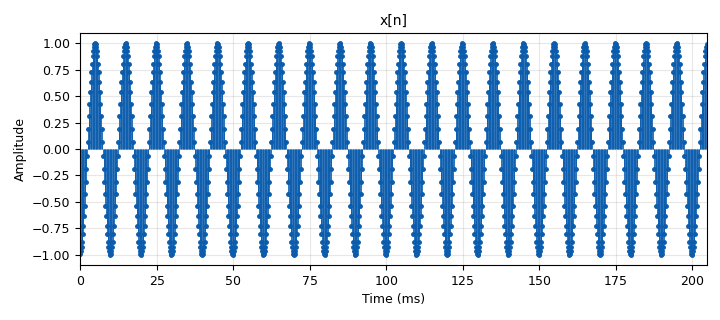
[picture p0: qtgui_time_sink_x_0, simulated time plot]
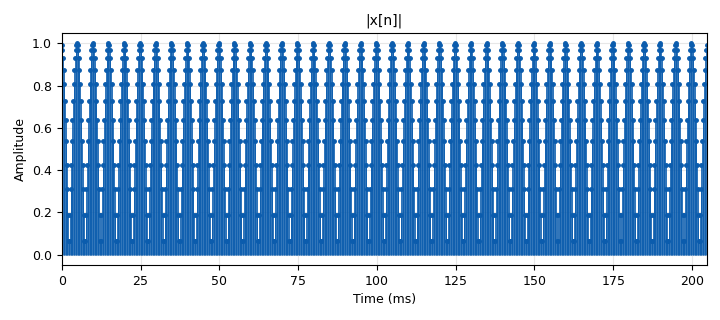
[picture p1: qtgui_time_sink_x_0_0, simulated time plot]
options:
  parameters:
    author: YAKOTT
    copyright: YAKOTT
    generate_options: qt_gui
    id: QT_DSP_Signal_11
    output_language: python
    title: QT_DSP_Signal_11
  states: {}

blocks:
- name: A
  id: variable_qtgui_range
  parameters:
    comment: Amplitude of the signal.
    orient: Qt.Horizontal
    start: '0'
    step: '1'
    stop: '10'
    value: '1'
  states: {}
- name: 'No'
  id: variable_qtgui_range
  parameters:
    comment: Period  of the signal.
    orient: Qt.Horizontal
    start: '1'
    step: '1'
    stop: '100'
    value: '50'
  states: {}
- name: Phi
  id: variable_qtgui_range
  parameters:
    comment: Phase of the signal.
    orient: Qt.Horizontal
    start: '0'
    step: '0.1'
    stop: 2*np.pi
    value: '0'
  states: {}
- name: Tasa_de_Muestreo
  id: variable_qtgui_range
  parameters:
    comment: Sample Rate operation.
    orient: Qt.Horizontal
    start: 1e3
    step: '1'
    stop: 10e3
    value: 5e3
  states: {}
- name: m
  id: variable_qtgui_range
  parameters:
    orient: Qt.Horizontal
    start: '1'
    step: '1'
    stop: '50'
    value: '1'
  states: {}
- name: n
  id: variable
  parameters:
    value: np.arange(0,No)
  states: {}
- name: blocks_abs_xx_0
  id: blocks_abs_xx
  parameters:
    type: float
  states: {}
- name: blocks_throttle_0
  id: blocks_throttle
  parameters:
    comment: Reduce CPU usage.
    samples_per_second: Tasa_de_Muestreo
    type: float
  states: {}
- name: blocks_vector_source_x_0
  id: blocks_vector_source_x
  parameters:
    comment: Create a signal.
    repeat: 'True'
    type: float
    vector: A*(np.cos((2*np.pi*(m/No)*n)+Phi))
  states: {}
- name: import_0
  id: import
  parameters:
    imports: import numpy as np
  states: {}
- name: qtgui_time_sink_x_0
  id: qtgui_time_sink_x
  parameters:
    autoscale: 'True'
    comment: Plot signal over time.
    grid: 'True'
    marker1: '0'
    name: '"x[n]"'
    size: '1024'
    srate: Tasa_de_Muestreo
    stemplot: 'True'
    type: float
  states: {}
- name: qtgui_time_sink_x_0_0
  id: qtgui_time_sink_x
  parameters:
    autoscale: 'True'
    comment: Plot signal over time.
    grid: 'True'
    marker1: '0'
    name: '"|x[n]|"'
    size: '1024'
    srate: Tasa_de_Muestreo
    stemplot: 'True'
    type: float
  states: {}

connections:
- [blocks_abs_xx_0, '0', qtgui_time_sink_x_0_0, '0']
- [blocks_throttle_0, '0', blocks_abs_xx_0, '0']
- [blocks_throttle_0, '0', qtgui_time_sink_x_0, '0']
- [blocks_vector_source_x_0, '0', blocks_throttle_0, '0']

metadata:
  file_format: 1
